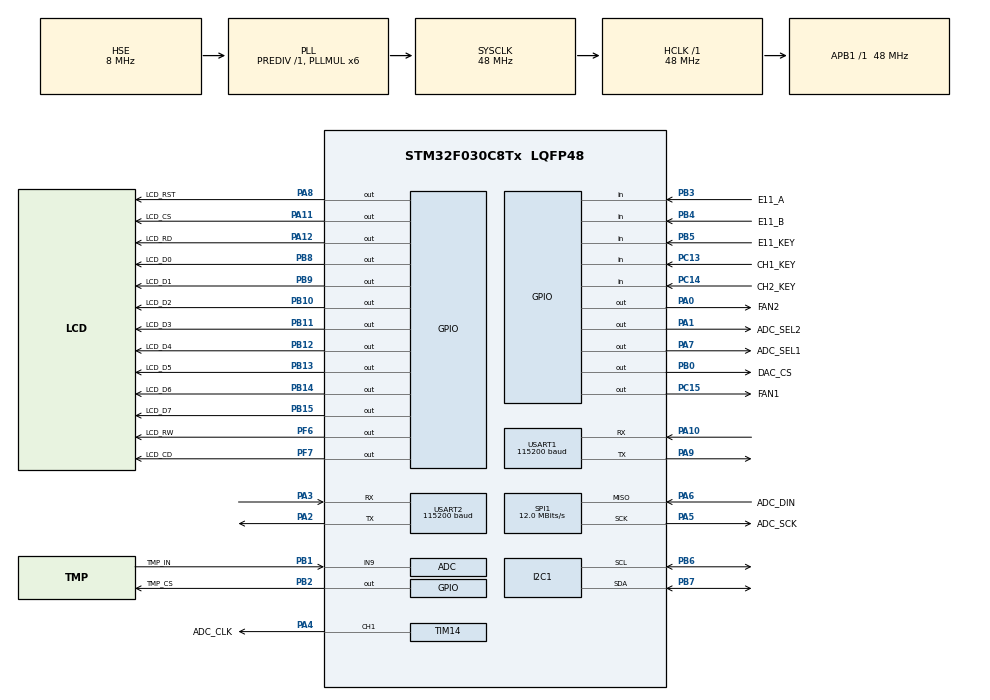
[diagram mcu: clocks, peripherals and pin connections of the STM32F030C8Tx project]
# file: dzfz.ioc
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Dma.Request0=USART1_RX
Dma.Request1=USART1_TX
Dma.USART1_RX.0.Direction=DMA_PERIPH_TO_MEMORY
Dma.USART1_RX.0.Instance=DMA1_Channel3
Dma.USART1_RX.0.MemDataAlignment=DMA_MDATAALIGN_BYTE
Dma.USART1_RX.0.MemInc=DMA_MINC_ENABLE
Dma.USART1_RX.0.Mode=DMA_CIRCULAR
Dma.USART1_RX.0.PeriphDataAlignment=DMA_PDATAALIGN_BYTE
Dma.USART1_RX.0.PeriphInc=DMA_PINC_DISABLE
Dma.USART1_RX.0.Priority=DMA_PRIORITY_LOW
Dma.USART1_TX.1.Direction=DMA_MEMORY_TO_PERIPH
Dma.USART1_TX.1.Instance=DMA1_Channel2
Dma.USART1_TX.1.MemDataAlignment=DMA_MDATAALIGN_BYTE
Dma.USART1_TX.1.MemInc=DMA_MINC_ENABLE
Dma.USART1_TX.1.Mode=DMA_NORMAL
Dma.USART1_TX.1.PeriphDataAlignment=DMA_PDATAALIGN_BYTE
Dma.USART1_TX.1.PeriphInc=DMA_PINC_DISABLE
Dma.USART1_TX.1.Priority=DMA_PRIORITY_LOW
Mcu.Family=STM32F0
Mcu.Name=STM32F030C8Tx
Mcu.Package=LQFP48
NVIC.DMA1_Channel2_3_IRQn=true\:0\:0\:false\:false\:true\:false\:true
NVIC.TIM3_IRQn=true\:0\:0\:false\:false\:true\:true\:true
NVIC.USART1_IRQn=true\:1\:0\:true\:false\:true\:true\:true
PA0.GPIO_Label=FAN2
PA0.Signal=GPIO_Output
PA1.GPIO_Label=ADC_SEL2
PA1.Signal=GPIO_Output
PA10.GPIO_PuPd=GPIO_PULLUP
PA10.Mode=Asynchronous
PA10.Signal=USART1_RX
PA11.GPIO_Label=LCD_CS
PA11.Signal=GPIO_Output
PA12.GPIO_Label=LCD_RD
PA12.Signal=GPIO_Output
PA13.Mode=Serial_Wire
PA13.Signal=SYS_SWDIO
PA14.Mode=Serial_Wire
PA14.Signal=SYS_SWCLK
PA2.Mode=Asynchronous
PA2.Signal=USART2_TX
PA3.Mode=Asynchronous
PA3.Signal=USART2_RX
PA4.GPIO_Label=ADC_CLK
PA4.Signal=S_TIM14_CH1
PA5.GPIO_Label=ADC_SCK
PA5.Mode=RX_Only_Simplex_Unidirect_Master
PA5.Signal=SPI1_SCK
PA6.GPIO_Label=ADC_DIN
PA6.Mode=RX_Only_Simplex_Unidirect_Master
PA6.Signal=SPI1_MISO
PA7.GPIO_Label=ADC_SEL1
PA7.Signal=GPIO_Output
PA8.GPIO_Label=LCD_RST
PA8.Signal=GPIO_Output
PA9.GPIO_PuPd=GPIO_NOPULL
PA9.Mode=Asynchronous
PA9.Signal=USART1_TX
PB0.GPIO_Label=DAC_CS
PB0.Signal=GPIO_Output
PB1.GPIO_Label=TMP_IN
PB1.Mode=IN9
PB1.Signal=ADC_IN9
PB10.GPIO_Label=LCD_D2
PB10.Signal=GPIO_Output
PB11.GPIO_Label=LCD_D3
PB11.Signal=GPIO_Output
PB12.GPIO_Label=LCD_D4
PB12.Signal=GPIO_Output
PB13.GPIO_Label=LCD_D5
PB13.Signal=GPIO_Output
PB14.GPIO_Label=LCD_D6
PB14.Signal=GPIO_Output
PB15.GPIO_Label=LCD_D7
PB15.Signal=GPIO_Output
PB2.GPIO_Label=TMP_CS
PB2.Signal=GPIO_Output
PB3.GPIO_Label=E11_A
PB3.Signal=GPIO_Input
PB4.GPIO_Label=E11_B
PB4.Signal=GPIO_Input
PB5.GPIO_Label=E11_KEY
PB5.Signal=GPIO_Input
PB6.Mode=I2C
PB6.Signal=I2C1_SCL
PB7.Mode=I2C
PB7.Signal=I2C1_SDA
PB8.GPIO_Label=LCD_D0
PB8.Signal=GPIO_Output
PB9.GPIO_Label=LCD_D1
PB9.Signal=GPIO_Output
PC13.GPIO_Label=CH1_KEY
PC13.Signal=GPIO_Input
PC14-OSC32_IN.GPIO_Label=CH2_KEY
PC14-OSC32_IN.Signal=GPIO_Input
PC15-OSC32_OUT.GPIO_Label=FAN1
PC15-OSC32_OUT.Signal=GPIO_Output
PF0-OSC_IN.Mode=HSE-External-Oscillator
PF0-OSC_IN.Signal=RCC_OSC_IN
PF1-OSC_OUT.Mode=HSE-External-Oscillator
PF1-OSC_OUT.Signal=RCC_OSC_OUT
PF6.GPIO_Label=LCD_RW
PF6.Signal=GPIO_Output
PF7.GPIO_Label=LCD_CD
PF7.Signal=GPIO_Output
ProjectManager.HeapSize=0x200
ProjectManager.StackSize=0x400
ProjectManager.TargetToolchain=MDK-ARM V5
RCC.AHBFreq_Value=48000000
RCC.APB1Freq_Value=48000000
RCC.APB1TimFreq_Value=48000000
RCC.HCLKFreq_Value=48000000
RCC.PLLMUL=RCC_PLL_MUL6
RCC.PLLSourceVirtual=RCC_PLLSOURCE_HSE
RCC.SYSCLKFreq_VALUE=48000000
RCC.SYSCLKSource=RCC_SYSCLKSOURCE_PLLCLK
SH.S_TIM14_CH1.0=TIM14_CH1,PWM Generation1 CH1
SPI1.BaudRatePrescaler=SPI_BAUDRATEPRESCALER_4
SPI1.CalculateBaudRate=12.0 MBits/s
SPI1.DataSize=SPI_DATASIZE_8BIT
SPI1.Direction=SPI_DIRECTION_2LINES_RXONLY
SPI1.Mode=SPI_MODE_MASTER
SPI1.VirtualType=VM_MASTER
TIM14.Channel=TIM_CHANNEL_1
TIM14.Period=5
TIM14.Pulse=3
TIM3.Channel-Output\ Compare1\ No\ Output=TIM_CHANNEL_1
TIM3.Period=60000
TIM3.Pulse-Output\ Compare1\ No\ Output=20
USART1.BaudRate=115200
USART1.VirtualMode-Asynchronous=VM_ASYNC
USART2.BaudRate=115200
USART2.VirtualMode-Asynchronous=VM_ASYNC
VP_TIM14_VS_ClockSourceINT.Mode=Enable_Timer
VP_TIM3_VS_no_output1.Mode=Output Compare1 No Output
board=custom

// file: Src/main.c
/* USER CODE BEGIN Header */
/**
  ******************************************************************************
  * @file           : main.c
  * @brief          : Main program body
  ******************************************************************************
  * @attention
  *
  * <h2><center>&copy; Copyright (c) 2020 STMicroelectronics.
  * All rights reserved.</center></h2>
  *
  * This software component is licensed by ST under BSD 3-Clause license,
  * the "License"; You may not use this file except in compliance with the
  * License. You may obtain a copy of the License at:
  *                        opensource.org/licenses/BSD-3-Clause
  *
  ******************************************************************************
  */
/* USER CODE END Header */

#include "main.h"

/* USER CODE BEGIN Includes */
#include "stdio.h"
#include "ADS1254.h"
#include "LTC1660.h"
#include "eeprom.h"
#include "ioi2c.h"
#include "sys_io.h"
/* USER CODE END Includes */

ADC_HandleTypeDef hadc;

I2C_HandleTypeDef hi2c1;

SPI_HandleTypeDef hspi1;

TIM_HandleTypeDef htim3;
TIM_HandleTypeDef htim14;

UART_HandleTypeDef huart1;
UART_HandleTypeDef huart2;
DMA_HandleTypeDef hdma_usart1_rx;
DMA_HandleTypeDef hdma_usart1_tx;

void SystemClock_Config(void);
static void MX_GPIO_Init(void);
static void MX_DMA_Init(void);
static void MX_ADC_Init(void);
static void MX_I2C1_Init(void);
static void MX_SPI1_Init(void);
static void MX_TIM14_Init(void);
static void MX_USART1_UART_Init(void);
static void MX_USART2_UART_Init(void);
static void MX_TIM3_Init(void);

/* USER CODE BEGIN 0 */
extern GPIO_InitTypeDef g_adc_pincfg;
extern volatile uint8_t ch1_v_ready;
extern volatile uint8_t ch1_i_ready;
extern volatile uint8_t ch2_v_ready;
extern volatile uint8_t ch2_i_ready;
extern int32_t ch1_v;
extern int32_t ch1_i;
extern int32_t ch2_v;
extern int32_t ch2_i;
extern int32_t adc_value;
/* USER CODE END 0 */

int main(void)
{

  /* MCU Configuration--------------------------------------------------------*/

  /* Reset of all peripherals, Initializes the Flash interface and the Systick. */
  HAL_Init();

  /* Configure the system clock */
  SystemClock_Config();

  /* Initialize all configured peripherals */
  MX_GPIO_Init();
  MX_DMA_Init();
  MX_ADC_Init();
  MX_I2C1_Init();
  MX_SPI1_Init();
  MX_TIM14_Init();
  MX_USART1_UART_Init();
  MX_USART2_UART_Init();
  MX_TIM3_Init();
  /* USER CODE BEGIN 2 */
  printf("hello\n");
  HAL_TIM_Base_Start(&htim14);
  HAL_TIM_PWM_Start(&htim14, TIM_CHANNEL_1);

  g_adc_pincfg.Pin = ADC_SCK_Pin | ADC_DIN_Pin;
  g_adc_pincfg.Mode = GPIO_MODE_AF_PP;
  g_adc_pincfg.Pull = GPIO_NOPULL;
  g_adc_pincfg.Speed = GPIO_SPEED_FREQ_HIGH;

  GPIO_InitTypeDef GPIO_InitStruct = {0};
  GPIO_InitStruct.Pin = ADC_DIN_Pin;
  GPIO_InitStruct.Alternate = GPIO_AF0_SPI1;
  GPIO_InitStruct.Mode = GPIO_MODE_IT_FALLING;
  GPIO_InitStruct.Pull = GPIO_NOPULL;
  HAL_GPIO_Init(GPIOA, &GPIO_InitStruct);
  GPIO_InitStruct.Mode = GPIO_MODE_AF_PP;
  HAL_GPIO_Init(GPIOA, &GPIO_InitStruct);
  ADS1254_Init();
  HAL_NVIC_SetPriority(EXTI4_15_IRQn, 0, 0);
  HAL_NVIC_EnableIRQ(EXTI4_15_IRQn);
  //todo
  GPIO_InitStruct.Pin = GPIO_PIN_2;
  GPIO_InitStruct.Mode = GPIO_MODE_OUTPUT_PP;
  GPIO_InitStruct.Pull = GPIO_NOPULL;
  HAL_GPIO_Init(GPIOA, &GPIO_InitStruct);
  //
  GPIO_InitStruct.Pin = GPIO_PIN_7 | GPIO_PIN_6;
  GPIO_InitStruct.Mode = GPIO_MODE_OUTPUT_PP;
  GPIO_InitStruct.Pull = GPIO_NOPULL;
  HAL_GPIO_Init(GPIOB, &GPIO_InitStruct);

  //setDAC(1023,8);
  //setDAC(512,7);
  //setDAC(256,6);
  //setDAC(128,5);
  setChValue(101000, 1);
  IOI2C_INIT();
  uint8_t allok = 1;
  uint8_t bbf[170];
  /*for(int i=0;i<8000;i++) {
		AA24x_WriteOneByte(i,i%256);
	}*/

  /*for(int i=0;i<170;i++) {
		bbf[i] = i;
	}
	AA24x_WriteBytes(32,bbf,170);
	for(int i=0;i<170;i++) {
		uint8_t tt = AA24x_ReadOneByte(i+32);
		if(tt != i%256) {
			printf("eeprom error.....\n");
			allok = 0;
		}
	}
	if(allok) {
		printf("eeprom readok....\n");
	}*/
  printf("hello\n");
  /* USER CODE END 2 */

  /* Infinite loop */
  /* USER CODE BEGIN WHILE */
  while (1)
  {
    //HAL_GPIO_WritePin(GPIOB,GPIO_PIN_6,GPIO_PIN_SET);
    //HAL_GPIO_WritePin(GPIOB,GPIO_PIN_6,GPIO_PIN_RESET);
    if (ch1_i_ready)
    {
      //printf("ch1_i=%x %d\n",adc_value,adc_value);
      ch1_i_ready = 0;
    }
    if (ch1_v_ready)
    {
      //printf("ch1_v=%x %d\n",adc_value,adc_value);
      ch1_v_ready = 0;
    }
    if (ch2_i_ready)
    {
      //printf("ch2_i=%x %d\n",adc_value,adc_value);
      ch2_i_ready = 0;
    }
    if (ch2_v_ready)
    {
      //printf("ch1_i=%d ch1_v=%d ch2_i=%d ch2_v=%d\n",ch1_i,ch1_v,ch2_i,ch2_v);
      ch2_v_ready = 0;
    }
    if (g_io_state.CH1_Key == KEY_DOWN)
    {
      g_io_state.CH1_Key = KEY_FREE;
      printf("CH1 key down\n");
    }
    if (g_io_state.CH1_Key == KEY_HOLD)
    {
      g_io_state.CH1_Key = KEY_FREE;
      printf("CH1 key hold\n");
    }
    if (g_io_state.CH2_Key == KEY_DOWN)
    {
      g_io_state.CH2_Key = KEY_FREE;
      printf("CH2 key down\n");
    }
    if (g_io_state.CH2_Key == KEY_HOLD)
    {
      g_io_state.CH2_Key = KEY_FREE;
      printf("CH2 key hold\n");
    }
    if(g_io_state.EC11_Coder == CODER_SUB) {
      g_io_state.EC11_Coder = CODER_FREE;
      printf("Coder sub.\n");
    }
    if(g_io_state.EC11_Coder == CODER_ADD) {
      g_io_state.EC11_Coder = CODER_FREE;
      printf("Coder add.\n");
    }
    if(g_io_state.EC11_Key == KEY_DOWN) {
      g_io_state.EC11_Key = KEY_FREE;
      printf("Coder key down.\n");
    }
    if(g_io_state.EC11_Key == KEY_HOLD) {
      g_io_state.EC11_Key = KEY_FREE;
      printf("Coder key hold.\n");
    }
    /* USER CODE END WHILE */

  }
}

void SystemClock_Config(void)
{
  RCC_OscInitTypeDef RCC_OscInitStruct = {0};
  RCC_ClkInitTypeDef RCC_ClkInitStruct = {0};
  RCC_PeriphCLKInitTypeDef PeriphClkInit = {0};

  /** Initializes the CPU, AHB and APB busses clocks
  */
  RCC_OscInitStruct.OscillatorType = RCC_OSCILLATORTYPE_HSI|RCC_OSCILLATORTYPE_HSI14
                              |RCC_OSCILLATORTYPE_HSE;
  RCC_OscInitStruct.HSEState = RCC_HSE_ON;
  RCC_OscInitStruct.HSIState = RCC_HSI_ON;
  RCC_OscInitStruct.HSI14State = RCC_HSI14_ON;
  RCC_OscInitStruct.HSICalibrationValue = RCC_HSICALIBRATION_DEFAULT;
  RCC_OscInitStruct.HSI14CalibrationValue = 16;
  RCC_OscInitStruct.PLL.PLLState = RCC_PLL_ON;
  RCC_OscInitStruct.PLL.PLLSource = RCC_PLLSOURCE_HSE;
  RCC_OscInitStruct.PLL.PLLMUL = RCC_PLL_MUL6;
  RCC_OscInitStruct.PLL.PREDIV = RCC_PREDIV_DIV1;
  if (HAL_RCC_OscConfig(&RCC_OscInitStruct) != HAL_OK)
  {
    Error_Handler();
  }
  /** Initializes the CPU, AHB and APB busses clocks
  */
  RCC_ClkInitStruct.ClockType = RCC_CLOCKTYPE_HCLK|RCC_CLOCKTYPE_SYSCLK
                              |RCC_CLOCKTYPE_PCLK1;
  RCC_ClkInitStruct.SYSCLKSource = RCC_SYSCLKSOURCE_PLLCLK;
  RCC_ClkInitStruct.AHBCLKDivider = RCC_SYSCLK_DIV1;
  RCC_ClkInitStruct.APB1CLKDivider = RCC_HCLK_DIV1;

  if (HAL_RCC_ClockConfig(&RCC_ClkInitStruct, FLASH_LATENCY_1) != HAL_OK)
  {
    Error_Handler();
  }
  PeriphClkInit.PeriphClockSelection = RCC_PERIPHCLK_USART1|RCC_PERIPHCLK_I2C1;
  PeriphClkInit.Usart1ClockSelection = RCC_USART1CLKSOURCE_PCLK1;
  PeriphClkInit.I2c1ClockSelection = RCC_I2C1CLKSOURCE_HSI;
  if (HAL_RCCEx_PeriphCLKConfig(&PeriphClkInit) != HAL_OK)
  {
    Error_Handler();
  }
}

static void MX_ADC_Init(void)
{

  ADC_ChannelConfTypeDef sConfig = {0};

  /** Configure the global features of the ADC (Clock, Resolution, Data Alignment and number of conversion)
  */
  hadc.Instance = ADC1;
  hadc.Init.ClockPrescaler = ADC_CLOCK_ASYNC_DIV1;
  hadc.Init.Resolution = ADC_RESOLUTION_12B;
  hadc.Init.DataAlign = ADC_DATAALIGN_RIGHT;
  hadc.Init.ScanConvMode = ADC_SCAN_DIRECTION_FORWARD;
  hadc.Init.EOCSelection = ADC_EOC_SINGLE_CONV;
  hadc.Init.LowPowerAutoWait = DISABLE;
  hadc.Init.LowPowerAutoPowerOff = DISABLE;
  hadc.Init.ContinuousConvMode = DISABLE;
  hadc.Init.DiscontinuousConvMode = DISABLE;
  hadc.Init.ExternalTrigConv = ADC_SOFTWARE_START;
  hadc.Init.ExternalTrigConvEdge = ADC_EXTERNALTRIGCONVEDGE_NONE;
  hadc.Init.DMAContinuousRequests = DISABLE;
  hadc.Init.Overrun = ADC_OVR_DATA_PRESERVED;
  if (HAL_ADC_Init(&hadc) != HAL_OK)
  {
    Error_Handler();
  }
  /** Configure for the selected ADC regular channel to be converted.
  */
  sConfig.Channel = ADC_CHANNEL_9;
  sConfig.Rank = ADC_RANK_CHANNEL_NUMBER;
  sConfig.SamplingTime = ADC_SAMPLETIME_1CYCLE_5;
  if (HAL_ADC_ConfigChannel(&hadc, &sConfig) != HAL_OK)
  {
    Error_Handler();
  }

}

static void MX_I2C1_Init(void)
{

  hi2c1.Instance = I2C1;
  hi2c1.Init.Timing = 0x2000090E;
  hi2c1.Init.OwnAddress1 = 0;
  hi2c1.Init.AddressingMode = I2C_ADDRESSINGMODE_7BIT;
  hi2c1.Init.DualAddressMode = I2C_DUALADDRESS_DISABLE;
  hi2c1.Init.OwnAddress2 = 0;
  hi2c1.Init.OwnAddress2Masks = I2C_OA2_NOMASK;
  hi2c1.Init.GeneralCallMode = I2C_GENERALCALL_DISABLE;
  hi2c1.Init.NoStretchMode = I2C_NOSTRETCH_DISABLE;
  if (HAL_I2C_Init(&hi2c1) != HAL_OK)
  {
    Error_Handler();
  }
  /** Configure Analogue filter
  */
  if (HAL_I2CEx_ConfigAnalogFilter(&hi2c1, I2C_ANALOGFILTER_ENABLE) != HAL_OK)
  {
    Error_Handler();
  }
  /** Configure Digital filter
  */
  if (HAL_I2CEx_ConfigDigitalFilter(&hi2c1, 0) != HAL_OK)
  {
    Error_Handler();
  }

}

static void MX_SPI1_Init(void)
{

  /* SPI1 parameter configuration*/
  hspi1.Instance = SPI1;
  hspi1.Init.Mode = SPI_MODE_MASTER;
  hspi1.Init.Direction = SPI_DIRECTION_2LINES_RXONLY;
  hspi1.Init.DataSize = SPI_DATASIZE_8BIT;
  hspi1.Init.CLKPolarity = SPI_POLARITY_LOW;
  hspi1.Init.CLKPhase = SPI_PHASE_1EDGE;
  hspi1.Init.NSS = SPI_NSS_SOFT;
  hspi1.Init.BaudRatePrescaler = SPI_BAUDRATEPRESCALER_4;
  hspi1.Init.FirstBit = SPI_FIRSTBIT_MSB;
  hspi1.Init.TIMode = SPI_TIMODE_DISABLE;
  hspi1.Init.CRCCalculation = SPI_CRCCALCULATION_DISABLE;
  hspi1.Init.CRCPolynomial = 7;
  hspi1.Init.CRCLength = SPI_CRC_LENGTH_DATASIZE;
  hspi1.Init.NSSPMode = SPI_NSS_PULSE_ENABLE;
  if (HAL_SPI_Init(&hspi1) != HAL_OK)
  {
    Error_Handler();
  }

}

static void MX_TIM3_Init(void)
{

  TIM_MasterConfigTypeDef sMasterConfig = {0};
  TIM_OC_InitTypeDef sConfigOC = {0};

  htim3.Instance = TIM3;
  htim3.Init.Prescaler = 0;
  htim3.Init.CounterMode = TIM_COUNTERMODE_UP;
  htim3.Init.Period = 60000;
  htim3.Init.ClockDivision = TIM_CLOCKDIVISION_DIV1;
  htim3.Init.AutoReloadPreload = TIM_AUTORELOAD_PRELOAD_DISABLE;
  if (HAL_TIM_OC_Init(&htim3) != HAL_OK)
  {
    Error_Handler();
  }
  sMasterConfig.MasterOutputTrigger = TIM_TRGO_RESET;
  sMasterConfig.MasterSlaveMode = TIM_MASTERSLAVEMODE_DISABLE;
  if (HAL_TIMEx_MasterConfigSynchronization(&htim3, &sMasterConfig) != HAL_OK)
  {
    Error_Handler();
  }
  sConfigOC.OCMode = TIM_OCMODE_TIMING;
  sConfigOC.Pulse = 20;
  sConfigOC.OCPolarity = TIM_OCPOLARITY_HIGH;
  sConfigOC.OCFastMode = TIM_OCFAST_DISABLE;
  if (HAL_TIM_OC_ConfigChannel(&htim3, &sConfigOC, TIM_CHANNEL_1) != HAL_OK)
  {
    Error_Handler();
  }

}

static void MX_TIM14_Init(void)
{

  TIM_OC_InitTypeDef sConfigOC = {0};

  htim14.Instance = TIM14;
  htim14.Init.Prescaler = 0;
  htim14.Init.CounterMode = TIM_COUNTERMODE_UP;
  htim14.Init.Period = 5;
  htim14.Init.ClockDivision = TIM_CLOCKDIVISION_DIV1;
  htim14.Init.AutoReloadPreload = TIM_AUTORELOAD_PRELOAD_DISABLE;
  if (HAL_TIM_Base_Init(&htim14) != HAL_OK)
  {
    Error_Handler();
  }
  if (HAL_TIM_PWM_Init(&htim14) != HAL_OK)
  {
    Error_Handler();
  }
  sConfigOC.OCMode = TIM_OCMODE_PWM1;
  sConfigOC.Pulse = 3;
  sConfigOC.OCPolarity = TIM_OCPOLARITY_HIGH;
  sConfigOC.OCFastMode = TIM_OCFAST_DISABLE;
  if (HAL_TIM_PWM_ConfigChannel(&htim14, &sConfigOC, TIM_CHANNEL_1) != HAL_OK)
  {
    Error_Handler();
  }
  HAL_TIM_MspPostInit(&htim14);

}

static void MX_USART1_UART_Init(void)
{

  huart1.Instance = USART1;
  huart1.Init.BaudRate = 115200;
  huart1.Init.WordLength = UART_WORDLENGTH_8B;
  huart1.Init.StopBits = UART_STOPBITS_1;
  huart1.Init.Parity = UART_PARITY_NONE;
  huart1.Init.Mode = UART_MODE_TX_RX;
  huart1.Init.HwFlowCtl = UART_HWCONTROL_NONE;
  huart1.Init.OverSampling = UART_OVERSAMPLING_16;
  huart1.Init.OneBitSampling = UART_ONE_BIT_SAMPLE_DISABLE;
  huart1.AdvancedInit.AdvFeatureInit = UART_ADVFEATURE_NO_INIT;
  if (HAL_UART_Init(&huart1) != HAL_OK)
  {
    Error_Handler();
  }

}

static void MX_USART2_UART_Init(void)
{

  huart2.Instance = USART2;
  huart2.Init.BaudRate = 115200;
  huart2.Init.WordLength = UART_WORDLENGTH_8B;
  huart2.Init.StopBits = UART_STOPBITS_1;
  huart2.Init.Parity = UART_PARITY_NONE;
  huart2.Init.Mode = UART_MODE_TX_RX;
  huart2.Init.HwFlowCtl = UART_HWCONTROL_NONE;
  huart2.Init.OverSampling = UART_OVERSAMPLING_16;
  huart2.Init.OneBitSampling = UART_ONE_BIT_SAMPLE_DISABLE;
  huart2.AdvancedInit.AdvFeatureInit = UART_ADVFEATURE_NO_INIT;
  if (HAL_UART_Init(&huart2) != HAL_OK)
  {
    Error_Handler();
  }

}

static void MX_DMA_Init(void)
{
  /* DMA controller clock enable */
  __HAL_RCC_DMA1_CLK_ENABLE();

  /* DMA interrupt init */
  /* DMA1_Channel2_3_IRQn interrupt configuration */
  HAL_NVIC_SetPriority(DMA1_Channel2_3_IRQn, 0, 0);
  HAL_NVIC_EnableIRQ(DMA1_Channel2_3_IRQn);

}

static void MX_GPIO_Init(void)
{
  GPIO_InitTypeDef GPIO_InitStruct = {0};

  /* GPIO Ports Clock Enable */
  __HAL_RCC_GPIOC_CLK_ENABLE();
  __HAL_RCC_GPIOF_CLK_ENABLE();
  __HAL_RCC_GPIOA_CLK_ENABLE();
  __HAL_RCC_GPIOB_CLK_ENABLE();

  /*Configure GPIO pin Output Level */
  HAL_GPIO_WritePin(FAN1_GPIO_Port, FAN1_Pin, GPIO_PIN_RESET);

  /*Configure GPIO pin Output Level */
  HAL_GPIO_WritePin(GPIOA, FAN2_Pin|ADC_SEL2_Pin|ADC_SEL1_Pin|LCD_RST_Pin
                          |LCD_CS_Pin|LCD_RD_Pin, GPIO_PIN_RESET);

  /*Configure GPIO pin Output Level */
  HAL_GPIO_WritePin(GPIOB, DAC_CS_Pin|TMP_CS_Pin|LCD_D2_Pin|LCD_D3_Pin
                          |LCD_D4_Pin|LCD_D5_Pin|LCD_D6_Pin|LCD_D7_Pin
                          |LCD_D0_Pin|LCD_D1_Pin, GPIO_PIN_RESET);

  /*Configure GPIO pin Output Level */
  HAL_GPIO_WritePin(GPIOF, LCD_RW_Pin|LCD_CD_Pin, GPIO_PIN_RESET);

  /*Configure GPIO pins : CH1_KEY_Pin CH2_KEY_Pin */
  GPIO_InitStruct.Pin = CH1_KEY_Pin|CH2_KEY_Pin;
  GPIO_InitStruct.Mode = GPIO_MODE_INPUT;
  GPIO_InitStruct.Pull = GPIO_NOPULL;
  HAL_GPIO_Init(GPIOC, &GPIO_InitStruct);

  /*Configure GPIO pin : FAN1_Pin */
  GPIO_InitStruct.Pin = FAN1_Pin;
  GPIO_InitStruct.Mode = GPIO_MODE_OUTPUT_PP;
  GPIO_InitStruct.Pull = GPIO_NOPULL;
  GPIO_InitStruct.Speed = GPIO_SPEED_FREQ_LOW;
  HAL_GPIO_Init(FAN1_GPIO_Port, &GPIO_InitStruct);

  /*Configure GPIO pins : FAN2_Pin ADC_SEL2_Pin ADC_SEL1_Pin LCD_RST_Pin
                           LCD_CS_Pin LCD_RD_Pin */
  GPIO_InitStruct.Pin = FAN2_Pin|ADC_SEL2_Pin|ADC_SEL1_Pin|LCD_RST_Pin
                          |LCD_CS_Pin|LCD_RD_Pin;
  GPIO_InitStruct.Mode = GPIO_MODE_OUTPUT_PP;
  GPIO_InitStruct.Pull = GPIO_NOPULL;
  GPIO_InitStruct.Speed = GPIO_SPEED_FREQ_LOW;
  HAL_GPIO_Init(GPIOA, &GPIO_InitStruct);

  /*Configure GPIO pins : DAC_CS_Pin TMP_CS_Pin LCD_D2_Pin LCD_D3_Pin
                           LCD_D4_Pin LCD_D5_Pin LCD_D6_Pin LCD_D7_Pin
                           LCD_D0_Pin LCD_D1_Pin */
  GPIO_InitStruct.Pin = DAC_CS_Pin|TMP_CS_Pin|LCD_D2_Pin|LCD_D3_Pin
                          |LCD_D4_Pin|LCD_D5_Pin|LCD_D6_Pin|LCD_D7_Pin
                          |LCD_D0_Pin|LCD_D1_Pin;
  GPIO_InitStruct.Mode = GPIO_MODE_OUTPUT_PP;
  GPIO_InitStruct.Pull = GPIO_NOPULL;
  GPIO_InitStruct.Speed = GPIO_SPEED_FREQ_LOW;
  HAL_GPIO_Init(GPIOB, &GPIO_InitStruct);

  /*Configure GPIO pins : LCD_RW_Pin LCD_CD_Pin */
  GPIO_InitStruct.Pin = LCD_RW_Pin|LCD_CD_Pin;
  GPIO_InitStruct.Mode = GPIO_MODE_OUTPUT_PP;
  GPIO_InitStruct.Pull = GPIO_NOPULL;
  GPIO_InitStruct.Speed = GPIO_SPEED_FREQ_LOW;
  HAL_GPIO_Init(GPIOF, &GPIO_InitStruct);

  /*Configure GPIO pins : E11_A_Pin E11_B_Pin E11_KEY_Pin */
  GPIO_InitStruct.Pin = E11_A_Pin|E11_B_Pin|E11_KEY_Pin;
  GPIO_InitStruct.Mode = GPIO_MODE_INPUT;
  GPIO_InitStruct.Pull = GPIO_NOPULL;
  HAL_GPIO_Init(GPIOB, &GPIO_InitStruct);

}

/* USER CODE BEGIN 4 */
int fputc(int ch, FILE *f)
{
  HAL_UART_Transmit(&huart1, (uint8_t *)&ch, 1, 0xFFFF);
  return ch;
}

int fgetc(FILE *f)
{
  uint8_t ch;
  HAL_UART_Receive(&huart1, (uint8_t *)&ch, 1, 0xFFFF);
  return ch;
}
/* USER CODE END 4 */

void Error_Handler(void)
{
}

/************************ (C) COPYRIGHT STMicroelectronics *****END OF FILE****/
